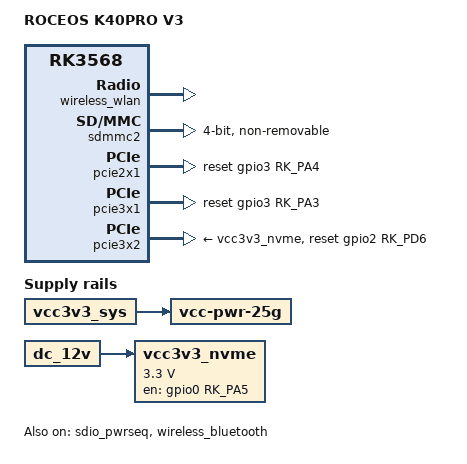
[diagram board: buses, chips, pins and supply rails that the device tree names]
// SPDX-License-Identifier: (GPL-2.0+ OR MIT)
/*
 * Copyright (c) 2020 Rockchip Electronics Co., Ltd.
 * Copyright (c) 2022 Flippy <flippy@sina.com>
 */

/dts-v1/;

#include "rk3568-roc-k40pro.dtsi"

/ {
	compatible = "roceos,k40prov3", "rockchip,rk3568";
	model = "ROCEOS K40PRO V3";
	eth_order =  "fe010000.ethernet,fe2a0000.ethernet,0001:11:00.0,0000:01:00.0";
	kdebug = "0";
	hwmodel_id = "K40PROV3";
	r8168_led = <0x438>;
	hw_support = "hdmi";

	pwr-net-25g {
		compatible = "regulator-fixed";
		pinctrl-names = "default";
		pinctrl-0 = <&pwr_25g_en>;
		regulator-name = "vcc-pwr-25g";
		regulator-always-on;
		vin-supply = <&vcc3v3_sys>;
	};

	vcc3v3_nvme: vcc3v3-nvme-regulator {
		compatible = "regulator-fixed";
		regulator-name = "vcc3v3_nvme";
		regulator-min-microvolt = <3300000>;
		regulator-max-microvolt = <3300000>;
		enable-active-high;
		gpio = <&gpio0 RK_PA5 GPIO_ACTIVE_HIGH>;
		vin-supply = <&dc_12v>;
		pinctrl-names = "default";
		pinctrl-0 = <&vcc3v3_nvme_en>;
	};
};

//配置WL_REG_ON引脚
&sdio_pwrseq {
	status = "okay";
	reset-gpios = <&gpio3 RK_PD5 GPIO_ACTIVE_LOW>;
	post-power-on-delay-ms = <200>;
};

// 配置WL_HOST_WAKE引脚，OOB模式时，该引脚必须配置
&wireless_wlan {
	pinctrl-names = "default";
	pinctrl-0 = <&wifi_host_wake_irq>;
	WIFI,host_wake_irq = <&gpio3 RK_PD4 GPIO_ACTIVE_HIGH>;
	wifi_chip_type = "ap6255";
	status = "okay";
};

&wireless_bluetooth {
	compatible = "bluetooth-platdata";
	clocks = <&rk809 1>;
	clock-names = "ext_clock";
	//wifi-bt-power-toggle;
	uart_rts_gpios = <&gpio2 RK_PB1 GPIO_ACTIVE_LOW>;
	pinctrl-names = "default", "rts_gpio";
	pinctrl-0 = <&uart8m0_rtsn>;
	pinctrl-1 = <&uart8_gpios>;
	BT,reset_gpio    = <&gpio4 RK_PC4 GPIO_ACTIVE_HIGH>;
	BT,wake_gpio     = <&gpio0 RK_PD5 GPIO_ACTIVE_HIGH>;
	BT,wake_host_irq = <&gpio0 RK_PD4 GPIO_ACTIVE_HIGH>;
	status = "okay";
};

// wifi
&sdmmc2 {
	max-frequency = <150000000>;
	supports-sdio;
	bus-width = <4>;
	disable-wp;
	cap-sd-highspeed;
	cap-sdio-irq;
	keep-power-in-suspend;
	mmc-pwrseq = <&sdio_pwrseq>;
	non-removable;
	pinctrl-names = "default";
	pinctrl-0 = <&sdmmc2m0_bus4 &sdmmc2m0_cmd &sdmmc2m0_clk>;
	sd-uhs-sdr104;
	status = "okay";
};

&pcie2x1 {
	rockchip,init-delay-ms = <100>;
	reset-gpios = <&gpio3 RK_PA4 GPIO_ACTIVE_HIGH>;
	status = "okay";
};

&pcie3x1 {
	reset-gpios = <&gpio3 RK_PA3 GPIO_ACTIVE_HIGH>;
	status = "okay";

};

&pcie3x2 {
	reset-gpios = <&gpio2 RK_PD6 GPIO_ACTIVE_HIGH>;
	vpcie3v3-supply = <&vcc3v3_nvme>;
	status = "okay";
};

&pinctrl {
	pwr-25g {
		pwr_25g_en: pwr-25g-en {
			rockchip,pins = <3 RK_PB1 RK_FUNC_GPIO &pcfg_output_high>;
		};
	};
	nvme {
		vcc3v3_nvme_en: vcc3v3-nvme-en {
			rockchip,pins = <0 RK_PA5 RK_FUNC_GPIO &pcfg_pull_none>;
		};
	};
};
